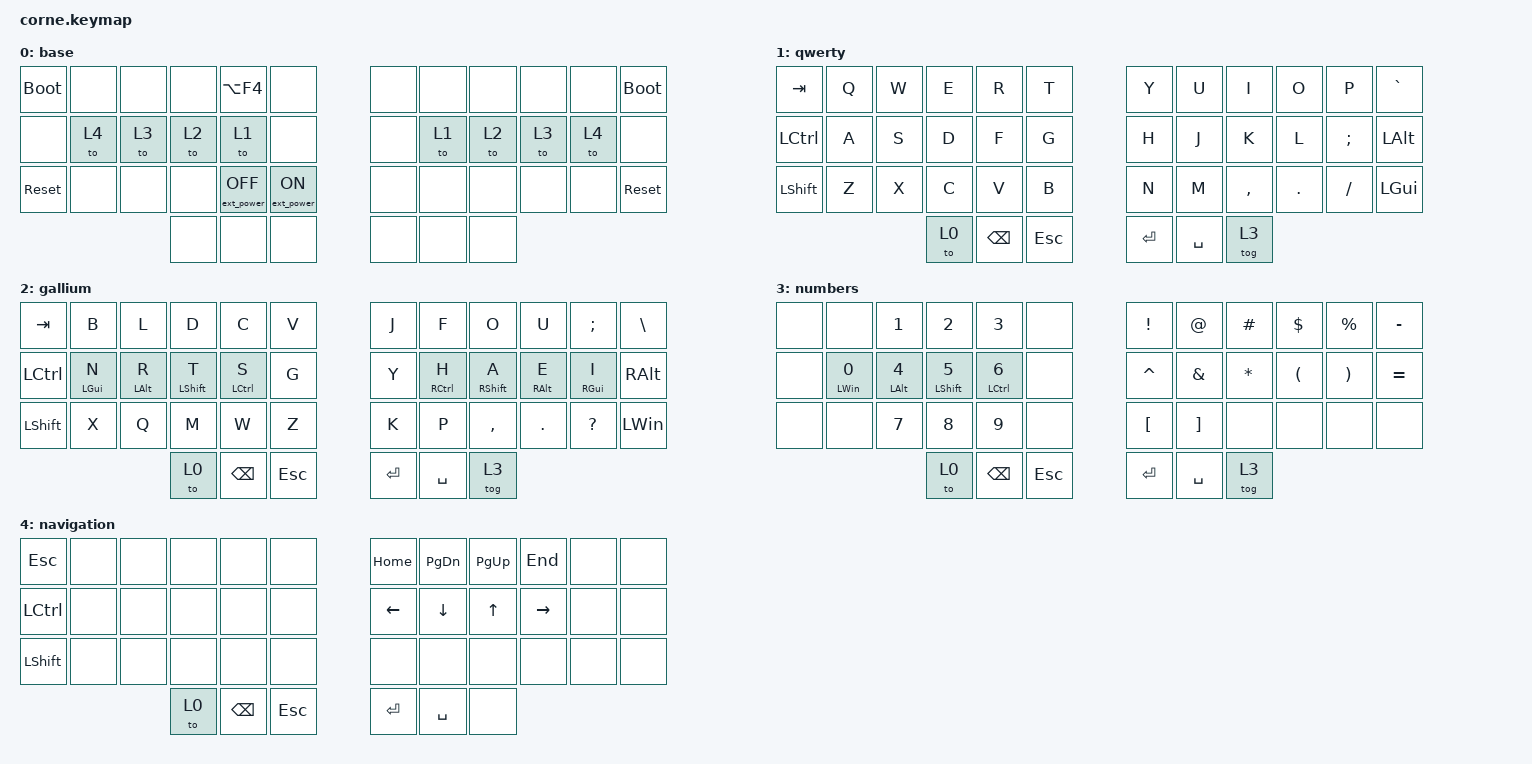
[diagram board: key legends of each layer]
/*
 * Copyright (c) 2020 The ZMK Contributors
 *
 * SPDX-License-Identifier: MIT
 */

#include <behaviors.dtsi>
#include <dt-bindings/zmk/ext_power.h>
#include <dt-bindings/zmk/keys.h>

/ {
    keymap {
        compatible = "zmk,keymap";

        base {
            bindings = <
&bootloader  &none  &none  &none  &kp LA(F4)         &none               &none  &none  &none  &none  &none  &bootloader
&none        &to 4  &to 3  &to 2  &to 1              &none               &none  &to 1  &to 2  &to 3  &to 4  &none
&sys_reset   &none  &none  &none  &ext_power EP_OFF  &ext_power EP_ON    &none  &none  &none  &none  &none  &sys_reset
                           &none  &none              &none               &none  &none  &none
            >;
        };

        qwerty {
            bindings = <
&kp TAB    &kp Q  &kp W  &kp E  &kp R     &kp T      &kp Y      &kp U      &kp I      &kp O    &kp P     &kp GRAVE
&kp LCTRL  &kp A  &kp S  &kp D  &kp F     &kp G      &kp H      &kp J      &kp K      &kp L    &kp SEMI  &kp LALT
&kp LSHFT  &kp Z  &kp X  &kp C  &kp V     &kp B      &kp N      &kp M      &kp COMMA  &kp DOT  &kp FSLH  &kp LGUI
                         &to 0  &kp BSPC  &kp ESC    &kp ENTER  &kp SPACE  &tog 3
            >;
        };

        gallium {
            bindings = <
&kp TAB    &kp B           &kp L           &kp D             &kp C               &kp V      &kp J      &kp F                &kp O              &kp U            &kp SEMI         &kp BACKSLASH
&kp LCTRL  &mt LEFT_GUI N  &mt LEFT_ALT R  &mt LEFT_SHIFT T  &mt LEFT_CONTROL S  &kp G      &kp Y      &mt RIGHT_CONTROL H  &mt RIGHT_SHIFT A  &mt RIGHT_ALT E  &mt RIGHT_GUI I  &kp RIGHT_ALT
&kp LSHFT  &kp X           &kp Q           &kp M             &kp W               &kp Z      &kp K      &kp P                &kp COMMA          &kp DOT          &kp QUESTION     &kp LEFT_WIN
                                           &to 0             &kp BSPC            &kp ESC    &kp ENTER  &kp SPACE            &tog 3
            >;
        };

        numbers {
            bindings = <
&none  &none            &kp N1           &kp N2             &kp N3               &none      &kp EXCLAMATION  &kp AT         &kp HASH      &kp DOLLAR            &kp PERCENT            &kp MINUS
&none  &mt LEFT_WIN N0  &mt LEFT_ALT N4  &mt LEFT_SHIFT N5  &mt LEFT_CONTROL N6  &none      &kp CARET        &kp AMPERSAND  &kp ASTERISK  &kp LEFT_PARENTHESIS  &kp RIGHT_PARENTHESIS  &kp EQUAL
&none  &none            &kp N7           &kp N8             &kp N9               &none      &kp LBKT         &kp RBKT       &none         &none                 &none                  &none
                                         &to 0              &kp BSPC             &kp ESC    &kp ENTER        &kp SPACE      &tog 3
            >;
        };

        navigation {
            bindings = <
&kp ESC    &none  &none  &none  &none          &none         &kp HOME   &kp PG_DN  &kp PG_UP  &kp END    &none  &none
&kp LCTRL  &none  &none  &none  &none          &none         &kp LEFT   &kp DOWN   &kp UP     &kp RIGHT  &none  &none
&kp LSHFT  &none  &none  &none  &none          &none         &none      &none      &none      &none      &none  &none
                         &to 0  &kp BACKSPACE  &kp ESCAPE    &kp ENTER  &kp SPACE  &none
            >;
        };
    };
};
